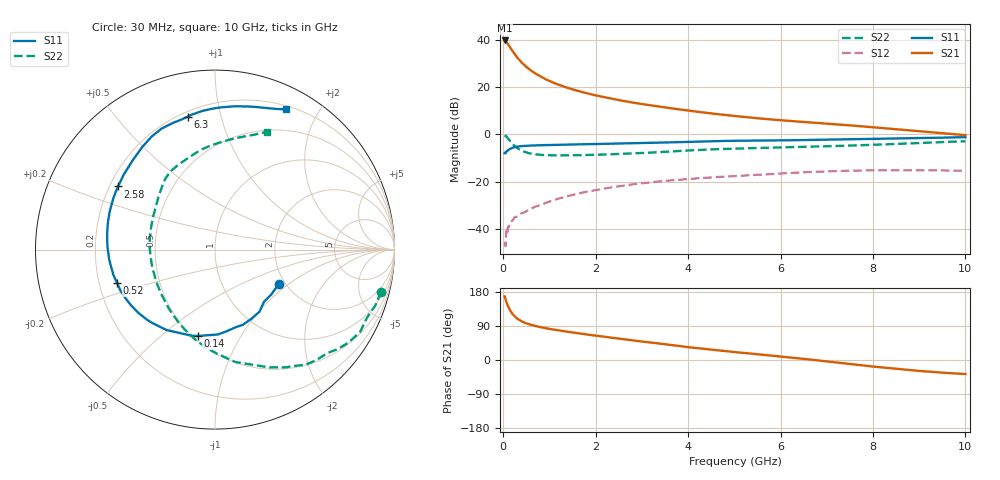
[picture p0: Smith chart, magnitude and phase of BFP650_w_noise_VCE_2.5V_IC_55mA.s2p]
! Infineon Technologies  Discrete & RF Semiconductors
! BFP650
! VCE =  2.5 V,  IC =  55 mA
! Common Emitter S-Parameters:  Jan 2016
# GHz  S  MA  R  50
!  f  S11  S21  S12  S22
! GHz  MAG  ANG  MAG  ANG  MAG  ANG  MAG  ANG
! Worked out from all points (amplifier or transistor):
!   229 points, 30 MHz to 10 GHz, reference 50 ohm
!   highest |S21| = 39.8 dB at 30 MHz (marker M1)
!   |S21| within 3 dB of that: start of sweep to 151.3 MHz
!   unconditionally stable (mu >= 1): 1.807 GHz to end of sweep
!   at 280 MHz: K = 0.49, MSG = 34.1 dB, |S12| = -34.9 dB
!   at 1.78 GHz: K = 1.00, MSG = 21.0 dB, |S12| = -24.4 dB
!   at 10 GHz: K = 1.03, MAG = 6.4 dB, |S12| = -15.4 dB
!   lowest NFmin = 1.01 dB at 450 MHz
!   S11 on the Smith chart (normalised r, x): 30 MHz: 1.84, -0.85; 140 MHz: 0.53, -0.67; 520 MHz: 0.28, -0.15; 2.58 GHz: 0.23, +0.28; 6.3 GHz: 0.23, +0.79; 10 GHz: 0.24, +1.61
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0.03  0.4031 -28.6  98.27 167.7  0.0052 77.9  0.9549 -14.2
0.05  0.3986 -46.7  94.83 159.5  0.0043 104.5  0.9278 -24.2
0.06  0.4258 -54.4  93.76 156.3  0.0072 92.0  0.9295 -29.5
0.08  0.4465 -69.6  88.67 149.2  0.0091 74.8  0.8802 -39.0
0.11  0.4731 -88.0  80.55 140.3  0.0111 72.4  0.816 -51.9
0.14  0.4908 -101.4  72.44 132.9  0.0131 60.6  0.7427 -62.0
0.2  0.523 -121.0  58.81 121.5  0.015 58.6  0.6367 -79.7
0.26  0.5441 -134.1  48.63 113.7  0.0179 53.1  0.5577 -93.2
0.3  0.554 -140.6  43.15 109.5  0.0182 54.7  0.5193 -101.2
0.4  0.5684 -152.2  33.41 102.0  0.0216 52.0  0.4539 -116.5
0.52  0.5763 -161.3  26.18 95.9  0.0244 54.0  0.4108 -130.1
0.7  0.5869 -170.6  19.42 89.4  0.0296 54.7  0.3797 -145.8
0.9  0.5949 -178.0  15.09 84.4  0.035 55.7  0.3651 -158.2
1.2  0.6046 173.7  11.31 78.1  0.0439 54.4  0.3609 -171.6
1.7  0.6191 162.7  7.961 69.3  0.0584 52.1  0.3663 172.7
2.58  0.6446 146.9  5.176 55.1  0.0821 44.6  0.3888 152.9
3.4  0.6719 134.2  3.866 43.0  0.1017 36.2  0.424 138.8
5.1  0.7376 112.9  2.411 19.9  0.1331 19.4  0.5052 117.6
6.3  0.7566 101.6  1.906 5.5  0.1546 8.0  0.5406 103.6
6.8  0.7705 96.8  1.759 -0.9  0.1628 2.7  0.557 99.0
8.4  0.8176 77.3  1.318 -22.1  0.1748 -15.1  0.6249 80.8
10  0.8773 63.0  0.967 -37.0  0.1707 -27.7  0.7183 66.2
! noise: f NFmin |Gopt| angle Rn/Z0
0.45  1.01  0.41  -172  0.07
0.9  1.03  0.43  -166  0.06
1.9  1.18  0.47  -153  0.07
2.4  1.26  0.45  -143  0.09
3.5  1.48  0.47  -120  0.14
